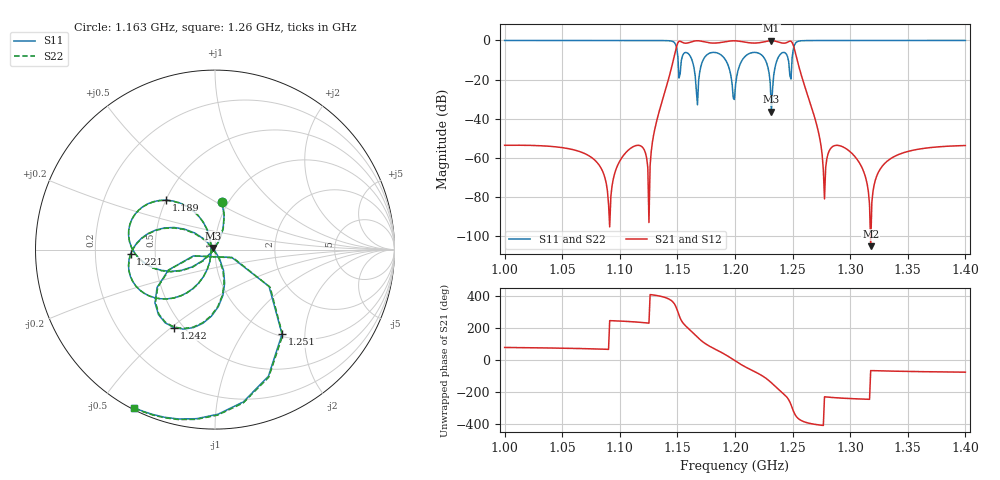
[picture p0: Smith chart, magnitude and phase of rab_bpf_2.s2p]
! This file is writen by Network Analyzer of MultiSIM.
! S-Parameters,  Real/Imag
! Date: December 10, 2004 15:33:54
! Warning: do not modify this file.
! Measurement mode:
# GHz  S  RI  R  50.00000
! FREQ.  Real(S11)  Imag(S11)  Real(S21)  Imag(S21)  Real(S12)  Imag(S12)  Real(S22)  Imag(S22)
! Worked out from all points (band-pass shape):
!   400 points, 1 GHz to 1.4 GHz, reference 50 ohm
!   highest |S21| = -0.13 dB at 1.232 GHz (marker M1); lowest = -105.3 dB at 1.318 GHz (marker M2)
!   |S21| within 3 dB of the highest: 1.149 GHz to 1.251 GHz (101.7 MHz wide, 8.47 % of centre)
!   lowest |S11| = -36.4 dB at 1.232 GHz (marker M3), VSWR 1.03, Z = 48.8 + j0.95 ohm
!   |S11| at or under -10 dB: 1.163 GHz to 1.172 GHz (9.722 MHz wide, 0.833 % of centre); 1.192 GHz to 1.206 GHz (14.56 MHz wide, 1.21 % of centre); 1.226 GHz to 1.237 GHz (10.23 MHz wide, 0.831 % of centre)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
!   |S22| runs from -35.6 to 0.0 dB; largest |S21 - S12| = 0
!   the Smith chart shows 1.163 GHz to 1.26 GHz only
!   S11 on the Smith chart (normalised r, x): 1.163 GHz: 0.93, +0.53; 1.189 GHz: 0.50, +0.33; 1.221 GHz: 0.36, -0.02; 1.242 GHz: 0.45, -0.51; 1.251 GHz: 1.04, -1.53; 1.26 GHz: 0.01, -0.61
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1  -0.9799 0.1975  0.000421 0.00203  0.000421 0.00203  -0.98 0.1977
1.06717  -0.9485 0.3142  0.000439 0.00129  0.000439 0.00129  -0.9486 0.3145
1.09123  -0.9171 0.3953  -6.86e-06 -1.55e-05  -6.86e-06 -1.55e-05  -0.9172 0.3958
1.1183  -0.8267 0.558  -0.00114 -0.00164  -0.00114 -0.00164  -0.8268 0.559
1.12531  -0.7753 0.6262  -1.41e-05 -1.69e-05  -1.41e-05 -1.69e-05  -0.7753 0.6277
1.13434  -0.657 0.7467  0.0121 0.0103  0.0121 0.0103  -0.6566 0.749
1.15238  -0.1317 0.0449  -0.1319 -0.9458  -0.1319 -0.9458  -0.1246 0.0383
1.16341  0.0383 0.2652  -0.9314 0.1607  -0.9314 0.1607  0.039 0.2635
1.16742  -0.0181 -0.0132  -0.7743 0.6063  -0.7743 0.6063  -0.0172 -0.0149
1.18947  -0.2721 0.2755  0.6697 0.6082  0.6697 0.6082  -0.2727 0.2746
1.2005  -0.0293 -0.0681  0.9695 -0.1173  0.9695 -0.1173  -0.0292 -0.068
1.22055  -0.4707 -0.0246  0.058 -0.8685  0.058 -0.8685  -0.4702 -0.0268
1.23158  -0.0116 0.00972  -0.7821 -0.599  -0.7821 -0.599  -0.0143 0.00844
1.2416  -0.2293 -0.4344  -0.7558 0.3979  -0.7558 0.3979  -0.2293 -0.431
1.25063  0.3735 -0.471  0.5623 0.4992  0.5623 0.4992  0.3772 -0.4776
1.25965  -0.449 -0.8812  0.0733 -0.0356  0.0733 -0.0356  -0.451 -0.8826
1.26667  -0.6437 -0.7593  0.0144 -0.0118  0.0144 -0.0118  -0.6451 -0.7597
1.27769  -0.7764 -0.6261  -5.61e-05 6.8e-05  -5.61e-05 6.8e-05  -0.7772 -0.6261
1.28872  -0.8419 -0.5364  -0.00113 0.00174  -0.00113 0.00174  -0.8425 -0.5363
1.31779  -0.9179 -0.3946  2.18e-06 -4.99e-06  2.18e-06 -4.99e-06  -0.9181 -0.3945
1.33383  -0.9375 -0.3461  0.000313 -0.000835  0.000313 -0.000835  -0.9377 -0.346
1.4  -0.9722 -0.2329  0.000483 -0.00199  0.000483 -0.00199  -0.9723 -0.2329
